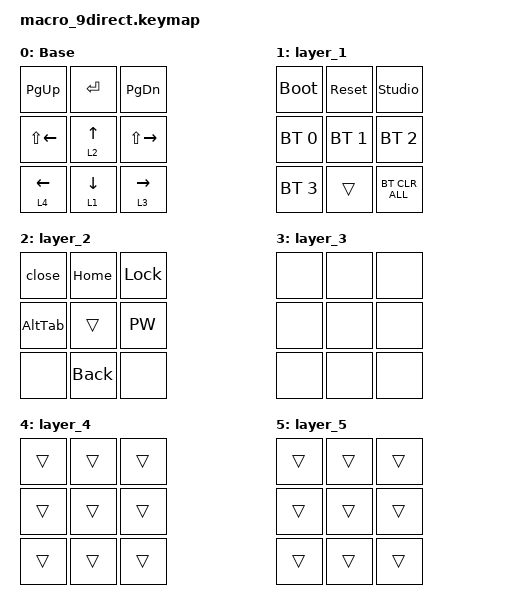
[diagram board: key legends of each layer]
#include <behaviors.dtsi>
#include <dt-bindings/zmk/bt.h>
#include <dt-bindings/zmk/keys.h>

&lt {
    tapping-term-ms = <250>;
    flavor = "hold-preferred";
};

/ {
    macros {
        Lock: Lock {
            compatible = "zmk,behavior-macro";
            #binding-cells = <0>;
            bindings = <&kp LG(L)>;
            label = "LOCK";
        };

        Home: Home {
            compatible = "zmk,behavior-macro";
            #binding-cells = <0>;
            bindings = <&kp LG(ENTER)>;
            label = "Home";
        };

        close: close {
            compatible = "zmk,behavior-macro";
            #binding-cells = <0>;
            bindings = <&kp LA(F4)>;
            label = "CLOSE";
        };

        AltTab: AltTab {
            compatible = "zmk,behavior-macro";
            #binding-cells = <0>;
            bindings = <&kp LA(TAB)>;
            label = "ALTTAB";
        };

        PW: PW {
            compatible = "zmk,behavior-macro";
            #binding-cells = <0>;
            bindings =
                <&macro_press>,
                <&kp KP_NUMBER_0>,
                <&macro_release>,
                <&macro_press>,
                <&kp KP_NUMBER_8>,
                <&macro_release>,
                <&macro_press>,
                <&kp NUMBER_1>,
                <&macro_release>,
                <&macro_press>,
                <&kp KP_NUMBER_2>,
                <&macro_release>;

            label = "PW";
        };

        Back: Back {
            compatible = "zmk,behavior-macro";
            #binding-cells = <0>;
            bindings = <&kp LG(DELETE)>;
            label = "BACK";
        };
    };

    keymap {
        compatible = "zmk,keymap";

        default_layer {
            display-name = "Base";
            bindings = <
&kp PAGE_UP   &kp ENTER       &kp PAGE_DOWN
&kp LS(LEFT)  &lt 2 UP_ARROW  &kp LS(RIGHT)
&lt 4 LEFT    &lt 1 DOWN      &lt 3 RIGHT
            >;
        };

        layer_1 {
            bindings = <
&bootloader   &sys_reset    &studio_unlock
&bt BT_SEL 0  &bt BT_SEL 1  &bt BT_SEL 2
&bt BT_SEL 3  &trans        &bt BT_CLR_ALL
            >;
        };

        layer_2 {
            bindings = <
&close   &Home   &Lock
&AltTab  &trans  &PW
&none    &Back   &none
            >;
        };

        layer_3 {
            bindings = <
&none  &none  &none
&none  &none  &none
&none  &none  &none
            >;
        };

        layer_4 {
            bindings = <
&trans  &trans  &trans
&trans  &trans  &trans
&trans  &trans  &trans
            >;
        };

        layer_5 {
            bindings = <
&trans  &trans  &trans
&trans  &trans  &trans
&trans  &trans  &trans
            >;
        };
    };
};
